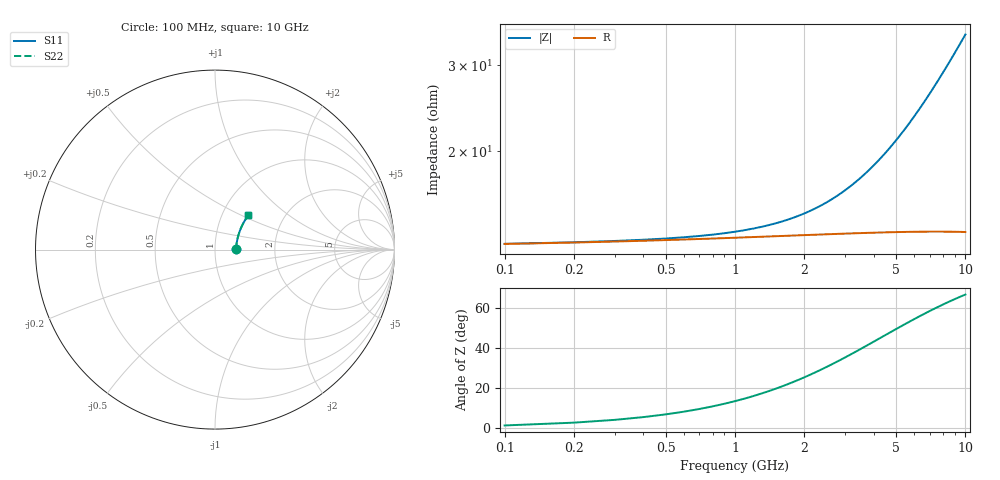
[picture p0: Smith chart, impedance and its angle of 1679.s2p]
# Hz S RI R 50.00
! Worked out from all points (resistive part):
!   100 points, 100 MHz to 10 GHz, reference 50 ohm
!   read as one part in series: R = 12.9 ohm at 100 MHz
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1e8  0.1146 0.00213  0.8854 -0.00289  0.8854 -0.00289  0.1146 0.00213
2e8  0.1153 0.00426  0.8847 -0.00578  0.8847 -0.00578  0.1153 0.00426
8e8  0.1176 0.0169  0.8823 -0.023  0.8823 -0.023  0.1176 0.0169
1.1e9  0.1186 0.0232  0.8813 -0.0316  0.8813 -0.0316  0.1186 0.0232
1.4e9  0.1196 0.0295  0.8803 -0.0402  0.8803 -0.0402  0.1196 0.0295
1.6e9  0.1203 0.0337  0.8797 -0.0459  0.8797 -0.0459  0.1203 0.0337
1.8e9  0.121 0.0378  0.8789 -0.0515  0.8789 -0.0515  0.121 0.0378
2.1e9  0.1221 0.0441  0.8778 -0.0601  0.8778 -0.0601  0.1221 0.0441
2.5e9  0.1237 0.0523  0.8761 -0.0714  0.8761 -0.0714  0.1237 0.0523
2.9e9  0.1255 0.0605  0.8742 -0.0826  0.8742 -0.0826  0.1255 0.0605
3.4e9  0.1279 0.0707  0.8717 -0.0966  0.8717 -0.0966  0.1279 0.0707
4.3e9  0.1331 0.0887  0.8663 -0.1215  0.8663 -0.1215  0.1331 0.0887
5.1e9  0.1384 0.1044  0.8607 -0.1433  0.8607 -0.1433  0.1384 0.1044
5.9e9  0.1445 0.1198  0.8544 -0.1647  0.8544 -0.1647  0.1445 0.1198
6.7e9  0.1513 0.1347  0.8473 -0.1858  0.8473 -0.1858  0.1513 0.1347
7.2e9  0.1559 0.1438  0.8425 -0.1987  0.8425 -0.1987  0.1559 0.1438
7.6e9  0.1598 0.1509  0.8384 -0.2089  0.8384 -0.2089  0.1598 0.1509
8e9  0.1638 0.158  0.8342 -0.219  0.8342 -0.219  0.1638 0.158
8.4e9  0.168 0.1649  0.8298 -0.229  0.8298 -0.229  0.168 0.1649
8.8e9  0.1723 0.1716  0.8253 -0.2388  0.8253 -0.2388  0.1723 0.1716
9.2e9  0.1768 0.1783  0.8205 -0.2485  0.8205 -0.2485  0.1768 0.1783
1e10  0.1862 0.1911  0.8107 -0.2675  0.8107 -0.2675  0.1862 0.1911
